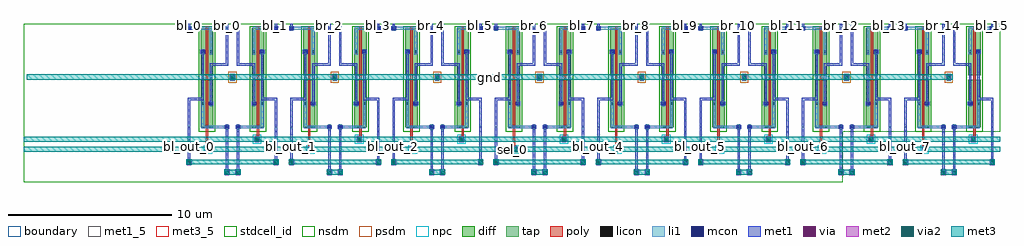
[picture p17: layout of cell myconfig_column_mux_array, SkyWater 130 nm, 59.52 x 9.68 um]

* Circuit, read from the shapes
.subckt myconfig_column_mux_array bl_0 bl_1 bl_10 bl_11 bl_12 bl_13 bl_14 bl_15 bl_2 bl_3 bl_4 bl_5 bl_6 bl_7 bl_8 bl_9 bl_out_0 bl_out_1 bl_out_2 bl_out_3 bl_out_4 bl_out_5 bl_out_6 bl_out_7 br_0 br_1 br_10 br_11 br_12 br_13 br_14 br_15 br_2 br_3 br_4 br_5 br_6 br_7 br_8 br_9 br_out_0 br_out_1 br_out_2 br_out_3 br_out_4 br_out_5 br_out_6 br_out_7 gnd sel_0 sel_1
XM1 br_0 sel_0 br_out_0 gnd sky130_fd_pr__nfet_01v8 w=2.88 l=0.15
XM2 bl_0 sel_0 bl_out_0 gnd sky130_fd_pr__nfet_01v8 w=2.88 l=0.15
XM3 br_out_0 sel_1 br_1 gnd sky130_fd_pr__nfet_01v8 w=2.88 l=0.15
XM4 bl_out_0 sel_1 bl_1 gnd sky130_fd_pr__nfet_01v8 w=2.88 l=0.15
XM5 br_2 sel_0 br_out_1 gnd sky130_fd_pr__nfet_01v8 w=2.88 l=0.15
XM6 bl_2 sel_0 bl_out_1 gnd sky130_fd_pr__nfet_01v8 w=2.88 l=0.15
XM7 br_out_1 sel_1 br_3 gnd sky130_fd_pr__nfet_01v8 w=2.88 l=0.15
XM8 bl_out_1 sel_1 bl_3 gnd sky130_fd_pr__nfet_01v8 w=2.88 l=0.15
XM9 br_4 sel_0 br_out_2 gnd sky130_fd_pr__nfet_01v8 w=2.88 l=0.15
XM10 bl_4 sel_0 bl_out_2 gnd sky130_fd_pr__nfet_01v8 w=2.88 l=0.15
XM11 br_out_2 sel_1 br_5 gnd sky130_fd_pr__nfet_01v8 w=2.88 l=0.15
XM12 bl_out_2 sel_1 bl_5 gnd sky130_fd_pr__nfet_01v8 w=2.88 l=0.15
XM13 br_6 sel_0 br_out_3 gnd sky130_fd_pr__nfet_01v8 w=2.88 l=0.15
XM14 bl_6 sel_0 bl_out_3 gnd sky130_fd_pr__nfet_01v8 w=2.88 l=0.15
XM15 br_out_3 sel_1 br_7 gnd sky130_fd_pr__nfet_01v8 w=2.88 l=0.15
XM16 bl_out_3 sel_1 bl_7 gnd sky130_fd_pr__nfet_01v8 w=2.88 l=0.15
XM17 br_8 sel_0 br_out_4 gnd sky130_fd_pr__nfet_01v8 w=2.88 l=0.15
XM18 bl_8 sel_0 bl_out_4 gnd sky130_fd_pr__nfet_01v8 w=2.88 l=0.15
XM19 br_out_4 sel_1 br_9 gnd sky130_fd_pr__nfet_01v8 w=2.88 l=0.15
XM20 bl_out_4 sel_1 bl_9 gnd sky130_fd_pr__nfet_01v8 w=2.88 l=0.15
XM21 br_10 sel_0 br_out_5 gnd sky130_fd_pr__nfet_01v8 w=2.88 l=0.15
XM22 bl_10 sel_0 bl_out_5 gnd sky130_fd_pr__nfet_01v8 w=2.88 l=0.15
XM23 br_out_5 sel_1 br_11 gnd sky130_fd_pr__nfet_01v8 w=2.88 l=0.15
XM24 bl_out_5 sel_1 bl_11 gnd sky130_fd_pr__nfet_01v8 w=2.88 l=0.15
XM25 br_12 sel_0 br_out_6 gnd sky130_fd_pr__nfet_01v8 w=2.88 l=0.15
XM26 bl_12 sel_0 bl_out_6 gnd sky130_fd_pr__nfet_01v8 w=2.88 l=0.15
XM27 br_out_6 sel_1 br_13 gnd sky130_fd_pr__nfet_01v8 w=2.88 l=0.15
XM28 bl_out_6 sel_1 bl_13 gnd sky130_fd_pr__nfet_01v8 w=2.88 l=0.15
XM29 br_14 sel_0 br_out_7 gnd sky130_fd_pr__nfet_01v8 w=2.88 l=0.15
XM30 bl_14 sel_0 bl_out_7 gnd sky130_fd_pr__nfet_01v8 w=2.88 l=0.15
XM31 br_out_7 sel_1 br_15 gnd sky130_fd_pr__nfet_01v8 w=2.88 l=0.15
XM32 bl_out_7 sel_1 bl_15 gnd sky130_fd_pr__nfet_01v8 w=2.88 l=0.15
.ends

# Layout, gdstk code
from math import pi, radians
import gdstk
lib = gdstk.Library(unit=1e-6, precision=1e-09)
def R(c, l, rs):  # rectangles x0, y0, x1, y1
    for r in rs: c.add(gdstk.rectangle(r[:2], r[2:], *l))
def A(c, l, x, y, w, h, nx, ny, dx, dy):  # array of equal rectangles
    R(c, l, [(x+i*dx, y+j*dy, x+i*dx+w, y+j*dy+h) for i in range(nx) for j in range(ny)])
diff = (65, 20)
tap = (65, 44)
poly = (66, 20)
licon = (66, 44)
li1 = (67, 20)
mcon = (67, 44)
met1_5 = (68, 5)
met1 = (68, 20)
via = (68, 44)
met2 = (69, 20)
via2 = (69, 44)
met3_5 = (70, 5)
met3 = (70, 20)
stdcell_id = (81, 4)
nsdm = (93, 44)
psdm = (94, 20)
npc = (95, 20)
boundary = (235, 4)

myconfig_contact_10 = lib.new_cell('myconfig_contact_10')
R(myconfig_contact_10, diff, [(0,0.02,0.25,0.31)])
R(myconfig_contact_10, licon, [(0.04,0.08,0.21,0.25)])
R(myconfig_contact_10, li1, [(0.04,0,0.21,0.33)])
R(myconfig_contact_10, stdcell_id, [(-0.125,-0.105,0.375,0.435)])
R(myconfig_contact_10, nsdm, [(-0.125,-0.105,0.375,0.435)])
R(myconfig_contact_10, boundary, [(-0.125,-0.105,0.375,0.435)])

myconfig_nmos_m1_w2_880_ = lib.new_cell('myconfig_nmos_m1_w2_880_sli_dli')
R(myconfig_nmos_m1_w2_880_, diff, [(0,0,0.75,2.88)])
R(myconfig_nmos_m1_w2_880_, poly, [(0.3,-0.13,0.45,3.01), (0.3,-0.13,0.45,3.01)])
R(myconfig_nmos_m1_w2_880_, li1, [(0.04,1.275,0.21,1.605), (0.54,1.275,0.71,1.605)])
R(myconfig_nmos_m1_w2_880_, stdcell_id, [(-0.125,-0.13,0.875,3.01)])
R(myconfig_nmos_m1_w2_880_, nsdm, [(-0.125,-0.125,0.875,3.005)])
R(myconfig_nmos_m1_w2_880_, boundary, [(-0.125,-0.13,0.875,3.01)])
myconfig_nmos_m1_w2_880_.add(gdstk.Reference(myconfig_contact_10, (0,1.275)))
myconfig_nmos_m1_w2_880_.add(gdstk.Reference(myconfig_contact_10, (0.5,1.275)))
myconfig_nmos_m1_w2_880_.add(gdstk.Label('G', (0.375,1.44), layer=66, texttype=5))
myconfig_nmos_m1_w2_880_.add(gdstk.Label('S', (0.125,1.44), layer=67, texttype=5))
myconfig_nmos_m1_w2_880_.add(gdstk.Label('D', (0.625,1.44), layer=67, texttype=5))

myconfig_contact_13 = lib.new_cell('myconfig_contact_13')
R(myconfig_contact_13, li1, [(0.06,0,0.23,0.33)])
R(myconfig_contact_13, mcon, [(0.06,0.08,0.23,0.25)])
R(myconfig_contact_13, met1, [(0,0.05,0.29,0.28)])
R(myconfig_contact_13, stdcell_id, [(0,0,0.29,0.33)])
R(myconfig_contact_13, boundary, [(0,0,0.29,0.33)])

myconfig_contact_14 = lib.new_cell('myconfig_contact_14')
R(myconfig_contact_14, tap, [(0,0,0.25,0.41)])
R(myconfig_contact_14, licon, [(0.04,0.12,0.21,0.29)])
R(myconfig_contact_14, li1, [(0.04,0.04,0.21,0.37)])
R(myconfig_contact_14, stdcell_id, [(-0.125,-0.125,0.375,0.535)])
R(myconfig_contact_14, psdm, [(-0.125,-0.125,0.375,0.535)])
R(myconfig_contact_14, boundary, [(-0.125,-0.125,0.375,0.535)])

myconfig_column_mux = lib.new_cell('myconfig_column_mux')
R(myconfig_column_mux, poly, [(1.485,0.14,1.635,0.27), (1.485,3.15,1.635,3.42)])
R(myconfig_column_mux, li1, [(1.225,0.195,1.395,0.365), (1.31,0.195,2.79,0.365), (1.225,0.28,1.395,1.71), (1.725,4.86,1.895,6.3), (0.4,6.215,1.81,6.385), (1.725,6.215,1.895,6.385)])
R(myconfig_column_mux, met1_5, [(0.4,0,0.54,0.28), (2.72,0,2.86,0.28), (3.05,3.245,3.19,3.385), (0.4,6.3,0.54,6.58), (2.72,6.3,2.86,6.58)])
R(myconfig_column_mux, met1, [(0.4,0,0.54,0.28), (2.72,0,2.86,0.28), (0.4,0.28,0.54,1.99), (1.74,1.71,1.88,4.09), (0.4,1.92,0.54,2.06), (0.47,1.92,1.31,2.06), (1.24,1.92,1.38,2.06), (1.24,1.99,1.38,4.86), (3.05,3.245,3.19,3.385), (1.74,4.02,1.88,4.16), (1.81,4.02,2.79,4.16), (2.72,4.02,2.86,4.16), (2.72,4.09,2.86,6.3), (0.4,6.3,0.54,6.58), (2.72,6.3,2.86,6.58)])
R(myconfig_column_mux, stdcell_id, [(0,0,3.12,6.58)])
R(myconfig_column_mux, nsdm, [(1.06,0,2.06,6.3)])
R(myconfig_column_mux, boundary, [(0,0,3.12,6.58)])
myconfig_column_mux.add(gdstk.Reference(myconfig_nmos_m1_w2_880_, (1.185,0.27)))
myconfig_column_mux.add(gdstk.Reference(myconfig_nmos_m1_w2_880_, (1.185,3.42)))
myconfig_column_mux.add(gdstk.Reference(myconfig_contact_13, (0.325,6.135)))
myconfig_column_mux.add(gdstk.Reference(myconfig_contact_13, (2.645,0.115)))
myconfig_column_mux.add(gdstk.Reference(myconfig_contact_13, (1.165,4.695)))
myconfig_column_mux.add(gdstk.Reference(myconfig_contact_13, (1.665,1.545)))
myconfig_column_mux.add(gdstk.Reference(myconfig_contact_14, (2.995,3.11)))
myconfig_column_mux.add(gdstk.Reference(myconfig_contact_13, (2.975,3.15)))
myconfig_column_mux.add(gdstk.Label('sel', (1.56,0.205), layer=66, texttype=5))
myconfig_column_mux.add(gdstk.Label('bl', (0.47,6.44), layer=68, texttype=5))
myconfig_column_mux.add(gdstk.Label('br', (2.79,6.44), layer=68, texttype=5))
myconfig_column_mux.add(gdstk.Label('bl_out', (0.47,0.14), layer=68, texttype=5))
myconfig_column_mux.add(gdstk.Label('br_out', (2.79,0.14), layer=68, texttype=5))
myconfig_column_mux.add(gdstk.Label('gnd', (3.12,3.315), layer=68, texttype=5))

myconfig_contact_24 = lib.new_cell('myconfig_contact_24')
R(myconfig_contact_24, poly, [(0,0,0.33,0.33)])
R(myconfig_contact_24, licon, [(0.08,0.08,0.25,0.25)])
R(myconfig_contact_24, li1, [(0.08,0,0.25,0.33)])
R(myconfig_contact_24, stdcell_id, [(-0.1,-0.1,0.43,0.43)])
R(myconfig_contact_24, npc, [(-0.1,-0.1,0.43,0.43)])
R(myconfig_contact_24, boundary, [(-0.1,-0.1,0.43,0.43)])

myconfig_contact_25 = lib.new_cell('myconfig_contact_25')
R(myconfig_contact_25, li1, [(0.06,0,0.23,0.33)])
R(myconfig_contact_25, mcon, [(0.06,0.08,0.23,0.25)])
R(myconfig_contact_25, met1, [(0,0.05,0.29,0.28)])
R(myconfig_contact_25, stdcell_id, [(0,0,0.29,0.33)])
R(myconfig_contact_25, boundary, [(0,0,0.29,0.33)])

myconfig_contact_26 = lib.new_cell('myconfig_contact_26')
R(myconfig_contact_26, met1, [(0,0.03,0.32,0.29)])
R(myconfig_contact_26, via, [(0.085,0.085,0.235,0.235)])
R(myconfig_contact_26, met2, [(0.03,0,0.29,0.32)])
R(myconfig_contact_26, stdcell_id, [(0,0,0.32,0.32)])
R(myconfig_contact_26, boundary, [(0,0,0.32,0.32)])

myconfig_contact_27 = lib.new_cell('myconfig_contact_27')
R(myconfig_contact_27, met2, [(0.025,0,0.305,0.37)])
R(myconfig_contact_27, via2, [(0.065,0.085,0.265,0.285)])
R(myconfig_contact_27, met3, [(0,0.02,0.33,0.35)])
R(myconfig_contact_27, stdcell_id, [(0,0,0.33,0.37)])
R(myconfig_contact_27, boundary, [(0,0,0.33,0.37)])

myconfig_contact_18 = lib.new_cell('myconfig_contact_18')
R(myconfig_contact_18, met1, [(0,0.03,0.32,0.29)])
R(myconfig_contact_18, via, [(0.085,0.085,0.235,0.235)])
R(myconfig_contact_18, met2, [(0.03,0,0.29,0.32)])
R(myconfig_contact_18, stdcell_id, [(0,0,0.32,0.32)])
R(myconfig_contact_18, boundary, [(0,0,0.32,0.32)])

myconfig_contact_21 = lib.new_cell('myconfig_contact_21')
R(myconfig_contact_21, met2, [(0.025,0,0.305,0.37)])
R(myconfig_contact_21, via2, [(0.065,0.085,0.265,0.285)])
R(myconfig_contact_21, met3, [(0,0.02,0.33,0.35)])
R(myconfig_contact_21, stdcell_id, [(0,0,0.33,0.37)])
R(myconfig_contact_21, boundary, [(0,0,0.33,0.37)])

myconfig_column_mux_arra = lib.new_cell('myconfig_column_mux_array')
A(myconfig_column_mux_arra, poly, 11.08, 1.935, 0.15, 0.15, 8, 1, 6.24, 0)
A(myconfig_column_mux_arra, poly, 11.155, 1.935, 0.07, 0.15, 8, 1, 6.24, 0)
A(myconfig_column_mux_arra, poly, 14.2, 2.555, 0.15, 0.15, 8, 1, 6.24, 0)
A(myconfig_column_mux_arra, poly, 14.205, 2.555, 0.07, 0.15, 8, 1, 6.24, 0)
R(myconfig_column_mux_arra, poly, [(11.08,2.01,11.23,3.24), (11.08,2.01,11.23,3.24), (17.32,2.01,17.47,3.24), (17.32,2.01,17.47,3.24), (23.56,2.01,23.71,3.24), (23.56,2.01,23.71,3.24), (29.8,2.01,29.95,3.24), (29.8,2.01,29.95,3.24), (36.04,2.01,36.19,3.24), (36.04,2.01,36.19,3.24), (42.28,2.01,42.43,3.24), (42.28,2.01,42.43,3.24), (48.52,2.01,48.67,3.24), (48.52,2.01,48.67,3.24), (54.76,2.01,54.91,3.24), (54.76,2.01,54.91,3.24), (14.2,2.63,14.35,3.24), (14.2,2.63,14.35,3.24), (20.44,2.63,20.59,3.24), (20.44,2.63,20.59,3.24), (26.68,2.63,26.83,3.24), (26.68,2.63,26.83,3.24), (32.92,2.63,33.07,3.24), (32.92,2.63,33.07,3.24), (39.16,2.63,39.31,3.24), (39.16,2.63,39.31,3.24), (45.4,2.63,45.55,3.24), (45.4,2.63,45.55,3.24), (51.64,2.63,51.79,3.24), (51.64,2.63,51.79,3.24), (57.88,2.63,58.03,3.24), (57.88,2.63,58.03,3.24)])
A(myconfig_column_mux_arra, met1_5, 12.315, 0.62, 0.14, 2.48, 8, 1, 6.24, 0)
A(myconfig_column_mux_arra, met1_5, 9.995, 1.24, 0.14, 1.86, 8, 1, 6.24, 0)
R(myconfig_column_mux_arra, met1_5, [(9.995,9.4,10.135,9.68), (12.315,9.4,12.455,9.68), (12.975,9.4,13.115,9.68), (15.295,9.4,15.435,9.68), (16.235,9.4,16.375,9.68), (18.555,9.4,18.695,9.68), (19.215,9.4,19.355,9.68), (21.535,9.4,21.675,9.68), (22.475,9.4,22.615,9.68), (24.795,9.4,24.935,9.68), (25.455,9.4,25.595,9.68), (27.775,9.4,27.915,9.68), (28.715,9.4,28.855,9.68), (31.035,9.4,31.175,9.68), (31.695,9.4,31.835,9.68), (34.015,9.4,34.155,9.68), (34.955,9.4,35.095,9.68), (37.275,9.4,37.415,9.68), (37.935,9.4,38.075,9.68), (40.255,9.4,40.395,9.68), (41.195,9.4,41.335,9.68), (43.515,9.4,43.655,9.68), (44.175,9.4,44.315,9.68), (46.495,9.4,46.635,9.68), (47.435,9.4,47.575,9.68), (49.755,9.4,49.895,9.68), (50.415,9.4,50.555,9.68), (52.735,9.4,52.875,9.68), (53.675,9.4,53.815,9.68), (55.995,9.4,56.135,9.68), (56.655,9.4,56.795,9.68), (58.975,9.4,59.115,9.68)])
A(myconfig_column_mux_arra, met1, 11.065, 1.88, 0.32, 0.26, 8, 1, 6.24, 0)
A(myconfig_column_mux_arra, met1, 14.045, 2.5, 0.32, 0.26, 8, 1, 6.24, 0)
R(myconfig_column_mux_arra, met1, [(12.225,0.49,12.545,0.75), (12.885,0.49,13.205,0.75), (18.465,0.49,18.785,0.75), (19.125,0.49,19.445,0.75), (24.705,0.49,25.025,0.75), (25.365,0.49,25.685,0.75), (30.945,0.49,31.265,0.75), (31.605,0.49,31.925,0.75), (37.185,0.49,37.505,0.75), (37.845,0.49,38.165,0.75), (43.425,0.49,43.745,0.75), (44.085,0.49,44.405,0.75), (49.665,0.49,49.985,0.75), (50.325,0.49,50.645,0.75), (55.905,0.49,56.225,0.75), (56.565,0.49,56.885,0.75), (12.315,0.62,12.455,3.1), (12.975,0.62,13.115,3.1), (18.555,0.62,18.695,3.1), (19.215,0.62,19.355,3.1), (24.795,0.62,24.935,3.1), (25.455,0.62,25.595,3.1), (31.035,0.62,31.175,3.1), (31.695,0.62,31.835,3.1), (37.275,0.62,37.415,3.1), (37.935,0.62,38.075,3.1), (43.515,0.62,43.655,3.1), (44.175,0.62,44.315,3.1), (49.755,0.62,49.895,3.1), (50.415,0.62,50.555,3.1), (55.995,0.62,56.135,3.1), (56.655,0.62,56.795,3.1), (9.905,1.11,10.225,1.37), (15.205,1.11,15.525,1.37), (16.145,1.11,16.465,1.37), (21.445,1.11,21.765,1.37), (22.385,1.11,22.705,1.37), (27.685,1.11,28.005,1.37), (28.625,1.11,28.945,1.37), (33.925,1.11,34.245,1.37), (34.865,1.11,35.185,1.37), (40.165,1.11,40.485,1.37), (41.105,1.11,41.425,1.37), (46.405,1.11,46.725,1.37), (47.345,1.11,47.665,1.37), (52.645,1.11,52.965,1.37), (53.585,1.11,53.905,1.37), (58.885,1.11,59.205,1.37), (9.995,1.24,10.135,3.1), (15.295,1.24,15.435,3.1), (16.235,1.24,16.375,3.1), (21.535,1.24,21.675,3.1), (22.475,1.24,22.615,3.1), (27.775,1.24,27.915,3.1), (28.715,1.24,28.855,3.1), (34.015,1.24,34.155,3.1), (34.955,1.24,35.095,3.1), (40.255,1.24,40.395,3.1), (41.195,1.24,41.335,3.1), (46.495,1.24,46.635,3.1), (47.435,1.24,47.575,3.1), (52.735,1.24,52.875,3.1), (53.675,1.24,53.815,3.1), (58.975,1.24,59.115,3.1), (12.555,6.285,12.875,6.545), (12.555,6.285,12.875,6.545), (18.795,6.285,19.115,6.545), (18.795,6.285,19.115,6.545), (25.035,6.285,25.355,6.545), (25.035,6.285,25.355,6.545), (31.275,6.285,31.595,6.545), (31.275,6.285,31.595,6.545), (37.515,6.285,37.835,6.545), (37.515,6.285,37.835,6.545), (43.755,6.285,44.075,6.545), (43.755,6.285,44.075,6.545), (49.995,6.285,50.315,6.545), (49.995,6.285,50.315,6.545), (56.235,6.285,56.555,6.545), (56.235,6.285,56.555,6.545), (9.995,9.4,10.135,9.68), (12.315,9.4,12.455,9.68), (12.975,9.4,13.115,9.68), (15.295,9.4,15.435,9.68), (16.235,9.4,16.375,9.68), (18.555,9.4,18.695,9.68), (19.215,9.4,19.355,9.68), (21.535,9.4,21.675,9.68), (22.475,9.4,22.615,9.68), (24.795,9.4,24.935,9.68), (25.455,9.4,25.595,9.68), (27.775,9.4,27.915,9.68), (28.715,9.4,28.855,9.68), (31.035,9.4,31.175,9.68), (31.695,9.4,31.835,9.68), (34.015,9.4,34.155,9.68), (34.955,9.4,35.095,9.68), (37.275,9.4,37.415,9.68), (37.935,9.4,38.075,9.68), (40.255,9.4,40.395,9.68), (41.195,9.4,41.335,9.68), (43.515,9.4,43.655,9.68), (44.175,9.4,44.315,9.68), (46.495,9.4,46.635,9.68), (47.435,9.4,47.575,9.68), (49.755,9.4,49.895,9.68), (50.415,9.4,50.555,9.68), (52.735,9.4,52.875,9.68), (53.675,9.4,53.815,9.68), (55.995,9.4,56.135,9.68), (56.655,9.4,56.795,9.68), (58.975,9.4,59.115,9.68)])
A(myconfig_column_mux_arra, met2, 11.085, 1.89, 0.28, 0.24, 8, 1, 6.24, 0)
A(myconfig_column_mux_arra, met2, 14.065, 2.51, 0.28, 0.24, 8, 1, 6.24, 0)
R(myconfig_column_mux_arra, met2, [(12.245,0.5,12.525,0.74), (12.905,0.5,13.185,0.74), (18.485,0.5,18.765,0.74), (19.145,0.5,19.425,0.74), (24.725,0.5,25.005,0.74), (25.385,0.5,25.665,0.74), (30.965,0.5,31.245,0.74), (31.625,0.5,31.905,0.74), (37.205,0.5,37.485,0.74), (37.865,0.5,38.145,0.74), (43.445,0.5,43.725,0.74), (44.105,0.5,44.385,0.74), (49.685,0.5,49.965,0.74), (50.345,0.5,50.625,0.74), (55.925,0.5,56.205,0.74), (56.585,0.5,56.865,0.74), (9.925,1.12,10.205,1.36), (15.225,1.12,15.505,1.36), (16.165,1.12,16.445,1.36), (21.465,1.12,21.745,1.36), (22.405,1.12,22.685,1.36), (27.705,1.12,27.985,1.36), (28.645,1.12,28.925,1.36), (33.945,1.12,34.225,1.36), (34.885,1.12,35.165,1.36), (40.185,1.12,40.465,1.36), (41.125,1.12,41.405,1.36), (46.425,1.12,46.705,1.36), (47.365,1.12,47.645,1.36), (52.665,1.12,52.945,1.36), (53.605,1.12,53.885,1.36), (58.905,1.12,59.185,1.36), (12.575,6.295,12.855,6.535), (12.575,6.295,12.855,6.535), (18.815,6.295,19.095,6.535), (18.815,6.295,19.095,6.535), (25.055,6.295,25.335,6.535), (25.055,6.295,25.335,6.535), (31.295,6.295,31.575,6.535), (31.295,6.295,31.575,6.535), (37.535,6.295,37.815,6.535), (37.535,6.295,37.815,6.535), (43.775,6.295,44.055,6.535), (43.775,6.295,44.055,6.535), (50.015,6.295,50.295,6.535), (50.015,6.295,50.295,6.535), (56.255,6.295,56.535,6.535), (56.255,6.295,56.535,6.535)])
R(myconfig_column_mux_arra, met3_5, [(0,1.86,59.515,2.16), (0,2.48,59.515,2.78), (0.165,6.25,56.63,6.58)])
A(myconfig_column_mux_arra, met3, 12.385, 0.47, 0.66, 0.3, 8, 1, 6.24, 0)
A(myconfig_column_mux_arra, met3, 10.065, 1.09, 5.3, 0.3, 8, 1, 6.24, 0)
R(myconfig_column_mux_arra, met3, [(0,1.86,59.515,2.16), (0,2.48,59.515,2.78), (0.165,6.25,56.63,6.58)])
R(myconfig_column_mux_arra, stdcell_id, [(0,0,49.92,9.68)])
R(myconfig_column_mux_arra, boundary, [(0,0,49.92,9.68)])
myconfig_column_mux_arra.add(gdstk.Reference(myconfig_column_mux, (9.595,3.1)))
myconfig_column_mux_arra.add(gdstk.Reference(myconfig_column_mux, (15.835,3.1), rotation=pi, x_reflection=True))
myconfig_column_mux_arra.add(gdstk.Reference(myconfig_column_mux, (15.835,3.1)))
myconfig_column_mux_arra.add(gdstk.Reference(myconfig_column_mux, (22.075,3.1), rotation=pi, x_reflection=True))
myconfig_column_mux_arra.add(gdstk.Reference(myconfig_column_mux, (22.075,3.1)))
myconfig_column_mux_arra.add(gdstk.Reference(myconfig_column_mux, (28.315,3.1), rotation=pi, x_reflection=True))
myconfig_column_mux_arra.add(gdstk.Reference(myconfig_column_mux, (28.315,3.1)))
myconfig_column_mux_arra.add(gdstk.Reference(myconfig_column_mux, (34.555,3.1), rotation=pi, x_reflection=True))
myconfig_column_mux_arra.add(gdstk.Reference(myconfig_column_mux, (34.555,3.1)))
myconfig_column_mux_arra.add(gdstk.Reference(myconfig_column_mux, (40.795,3.1), rotation=pi, x_reflection=True))
myconfig_column_mux_arra.add(gdstk.Reference(myconfig_column_mux, (40.795,3.1)))
myconfig_column_mux_arra.add(gdstk.Reference(myconfig_column_mux, (47.035,3.1), rotation=pi, x_reflection=True))
myconfig_column_mux_arra.add(gdstk.Reference(myconfig_column_mux, (47.035,3.1)))
myconfig_column_mux_arra.add(gdstk.Reference(myconfig_column_mux, (53.275,3.1), rotation=pi, x_reflection=True))
myconfig_column_mux_arra.add(gdstk.Reference(myconfig_column_mux, (53.275,3.1)))
myconfig_column_mux_arra.add(gdstk.Reference(myconfig_column_mux, (59.515,3.1), rotation=pi, x_reflection=True))
myconfig_column_mux_arra.add(gdstk.Reference(myconfig_contact_24, (11.06,1.845)))
myconfig_column_mux_arra.add(gdstk.Reference(myconfig_contact_25, (11.08,1.845)))
myconfig_column_mux_arra.add(gdstk.Reference(myconfig_contact_26, (11.065,1.85)))
myconfig_column_mux_arra.add(gdstk.Reference(myconfig_contact_27, (11.06,1.825)))
myconfig_column_mux_arra.add(gdstk.Reference(myconfig_contact_24, (14.04,2.465)))
myconfig_column_mux_arra.add(gdstk.Reference(myconfig_contact_25, (14.06,2.465)))
myconfig_column_mux_arra.add(gdstk.Reference(myconfig_contact_26, (14.045,2.47)))
myconfig_column_mux_arra.add(gdstk.Reference(myconfig_contact_27, (14.04,2.445)))
myconfig_column_mux_arra.add(gdstk.Reference(myconfig_contact_24, (17.3,1.845)))
myconfig_column_mux_arra.add(gdstk.Reference(myconfig_contact_25, (17.32,1.845)))
myconfig_column_mux_arra.add(gdstk.Reference(myconfig_contact_26, (17.305,1.85)))
myconfig_column_mux_arra.add(gdstk.Reference(myconfig_contact_27, (17.3,1.825)))
myconfig_column_mux_arra.add(gdstk.Reference(myconfig_contact_24, (20.28,2.465)))
myconfig_column_mux_arra.add(gdstk.Reference(myconfig_contact_25, (20.3,2.465)))
myconfig_column_mux_arra.add(gdstk.Reference(myconfig_contact_26, (20.285,2.47)))
myconfig_column_mux_arra.add(gdstk.Reference(myconfig_contact_27, (20.28,2.445)))
myconfig_column_mux_arra.add(gdstk.Reference(myconfig_contact_24, (23.54,1.845)))
myconfig_column_mux_arra.add(gdstk.Reference(myconfig_contact_25, (23.56,1.845)))
myconfig_column_mux_arra.add(gdstk.Reference(myconfig_contact_26, (23.545,1.85)))
myconfig_column_mux_arra.add(gdstk.Reference(myconfig_contact_27, (23.54,1.825)))
myconfig_column_mux_arra.add(gdstk.Reference(myconfig_contact_24, (26.52,2.465)))
myconfig_column_mux_arra.add(gdstk.Reference(myconfig_contact_25, (26.54,2.465)))
myconfig_column_mux_arra.add(gdstk.Reference(myconfig_contact_26, (26.525,2.47)))
myconfig_column_mux_arra.add(gdstk.Reference(myconfig_contact_27, (26.52,2.445)))
myconfig_column_mux_arra.add(gdstk.Reference(myconfig_contact_24, (29.78,1.845)))
myconfig_column_mux_arra.add(gdstk.Reference(myconfig_contact_25, (29.8,1.845)))
myconfig_column_mux_arra.add(gdstk.Reference(myconfig_contact_26, (29.785,1.85)))
myconfig_column_mux_arra.add(gdstk.Reference(myconfig_contact_27, (29.78,1.825)))
myconfig_column_mux_arra.add(gdstk.Reference(myconfig_contact_24, (32.76,2.465)))
myconfig_column_mux_arra.add(gdstk.Reference(myconfig_contact_25, (32.78,2.465)))
myconfig_column_mux_arra.add(gdstk.Reference(myconfig_contact_26, (32.765,2.47)))
myconfig_column_mux_arra.add(gdstk.Reference(myconfig_contact_27, (32.76,2.445)))
myconfig_column_mux_arra.add(gdstk.Reference(myconfig_contact_24, (36.02,1.845)))
myconfig_column_mux_arra.add(gdstk.Reference(myconfig_contact_25, (36.04,1.845)))
myconfig_column_mux_arra.add(gdstk.Reference(myconfig_contact_26, (36.025,1.85)))
myconfig_column_mux_arra.add(gdstk.Reference(myconfig_contact_27, (36.02,1.825)))
myconfig_column_mux_arra.add(gdstk.Reference(myconfig_contact_24, (39,2.465)))
myconfig_column_mux_arra.add(gdstk.Reference(myconfig_contact_25, (39.02,2.465)))
myconfig_column_mux_arra.add(gdstk.Reference(myconfig_contact_26, (39.005,2.47)))
myconfig_column_mux_arra.add(gdstk.Reference(myconfig_contact_27, (39,2.445)))
myconfig_column_mux_arra.add(gdstk.Reference(myconfig_contact_24, (42.26,1.845)))
myconfig_column_mux_arra.add(gdstk.Reference(myconfig_contact_25, (42.28,1.845)))
myconfig_column_mux_arra.add(gdstk.Reference(myconfig_contact_26, (42.265,1.85)))
myconfig_column_mux_arra.add(gdstk.Reference(myconfig_contact_27, (42.26,1.825)))
myconfig_column_mux_arra.add(gdstk.Reference(myconfig_contact_24, (45.24,2.465)))
myconfig_column_mux_arra.add(gdstk.Reference(myconfig_contact_25, (45.26,2.465)))
myconfig_column_mux_arra.add(gdstk.Reference(myconfig_contact_26, (45.245,2.47)))
myconfig_column_mux_arra.add(gdstk.Reference(myconfig_contact_27, (45.24,2.445)))
myconfig_column_mux_arra.add(gdstk.Reference(myconfig_contact_24, (48.5,1.845)))
myconfig_column_mux_arra.add(gdstk.Reference(myconfig_contact_25, (48.52,1.845)))
myconfig_column_mux_arra.add(gdstk.Reference(myconfig_contact_26, (48.505,1.85)))
myconfig_column_mux_arra.add(gdstk.Reference(myconfig_contact_27, (48.5,1.825)))
myconfig_column_mux_arra.add(gdstk.Reference(myconfig_contact_24, (51.48,2.465)))
myconfig_column_mux_arra.add(gdstk.Reference(myconfig_contact_25, (51.5,2.465)))
myconfig_column_mux_arra.add(gdstk.Reference(myconfig_contact_26, (51.485,2.47)))
myconfig_column_mux_arra.add(gdstk.Reference(myconfig_contact_27, (51.48,2.445)))
myconfig_column_mux_arra.add(gdstk.Reference(myconfig_contact_24, (54.74,1.845)))
myconfig_column_mux_arra.add(gdstk.Reference(myconfig_contact_25, (54.76,1.845)))
myconfig_column_mux_arra.add(gdstk.Reference(myconfig_contact_26, (54.745,1.85)))
myconfig_column_mux_arra.add(gdstk.Reference(myconfig_contact_27, (54.74,1.825)))
myconfig_column_mux_arra.add(gdstk.Reference(myconfig_contact_24, (57.72,2.465)))
myconfig_column_mux_arra.add(gdstk.Reference(myconfig_contact_25, (57.74,2.465)))
myconfig_column_mux_arra.add(gdstk.Reference(myconfig_contact_26, (57.725,2.47)))
myconfig_column_mux_arra.add(gdstk.Reference(myconfig_contact_27, (57.72,2.445)))
myconfig_column_mux_arra.add(gdstk.Reference(myconfig_contact_26, (9.905,1.08)))
myconfig_column_mux_arra.add(gdstk.Reference(myconfig_contact_27, (9.9,1.055)))
myconfig_column_mux_arra.add(gdstk.Reference(myconfig_contact_26, (12.225,0.46)))
myconfig_column_mux_arra.add(gdstk.Reference(myconfig_contact_27, (12.22,0.435)))
myconfig_column_mux_arra.add(gdstk.Reference(myconfig_contact_26, (15.205,1.08)))
myconfig_column_mux_arra.add(gdstk.Reference(myconfig_contact_27, (15.2,1.055)))
myconfig_column_mux_arra.add(gdstk.Reference(myconfig_contact_26, (12.885,0.46)))
myconfig_column_mux_arra.add(gdstk.Reference(myconfig_contact_27, (12.88,0.435)))
myconfig_column_mux_arra.add(gdstk.Reference(myconfig_contact_26, (16.145,1.08)))
myconfig_column_mux_arra.add(gdstk.Reference(myconfig_contact_27, (16.14,1.055)))
myconfig_column_mux_arra.add(gdstk.Reference(myconfig_contact_26, (18.465,0.46)))
myconfig_column_mux_arra.add(gdstk.Reference(myconfig_contact_27, (18.46,0.435)))
myconfig_column_mux_arra.add(gdstk.Reference(myconfig_contact_26, (21.445,1.08)))
myconfig_column_mux_arra.add(gdstk.Reference(myconfig_contact_27, (21.44,1.055)))
myconfig_column_mux_arra.add(gdstk.Reference(myconfig_contact_26, (19.125,0.46)))
myconfig_column_mux_arra.add(gdstk.Reference(myconfig_contact_27, (19.12,0.435)))
myconfig_column_mux_arra.add(gdstk.Reference(myconfig_contact_26, (22.385,1.08)))
myconfig_column_mux_arra.add(gdstk.Reference(myconfig_contact_27, (22.38,1.055)))
myconfig_column_mux_arra.add(gdstk.Reference(myconfig_contact_26, (24.705,0.46)))
myconfig_column_mux_arra.add(gdstk.Reference(myconfig_contact_27, (24.7,0.435)))
myconfig_column_mux_arra.add(gdstk.Reference(myconfig_contact_26, (27.685,1.08)))
myconfig_column_mux_arra.add(gdstk.Reference(myconfig_contact_27, (27.68,1.055)))
myconfig_column_mux_arra.add(gdstk.Reference(myconfig_contact_26, (25.365,0.46)))
myconfig_column_mux_arra.add(gdstk.Reference(myconfig_contact_27, (25.36,0.435)))
myconfig_column_mux_arra.add(gdstk.Reference(myconfig_contact_26, (28.625,1.08)))
myconfig_column_mux_arra.add(gdstk.Reference(myconfig_contact_27, (28.62,1.055)))
myconfig_column_mux_arra.add(gdstk.Reference(myconfig_contact_26, (30.945,0.46)))
myconfig_column_mux_arra.add(gdstk.Reference(myconfig_contact_27, (30.94,0.435)))
myconfig_column_mux_arra.add(gdstk.Reference(myconfig_contact_26, (33.925,1.08)))
myconfig_column_mux_arra.add(gdstk.Reference(myconfig_contact_27, (33.92,1.055)))
myconfig_column_mux_arra.add(gdstk.Reference(myconfig_contact_26, (31.605,0.46)))
myconfig_column_mux_arra.add(gdstk.Reference(myconfig_contact_27, (31.6,0.435)))
myconfig_column_mux_arra.add(gdstk.Reference(myconfig_contact_26, (34.865,1.08)))
myconfig_column_mux_arra.add(gdstk.Reference(myconfig_contact_27, (34.86,1.055)))
myconfig_column_mux_arra.add(gdstk.Reference(myconfig_contact_26, (37.185,0.46)))
myconfig_column_mux_arra.add(gdstk.Reference(myconfig_contact_27, (37.18,0.435)))
myconfig_column_mux_arra.add(gdstk.Reference(myconfig_contact_26, (40.165,1.08)))
myconfig_column_mux_arra.add(gdstk.Reference(myconfig_contact_27, (40.16,1.055)))
myconfig_column_mux_arra.add(gdstk.Reference(myconfig_contact_26, (37.845,0.46)))
myconfig_column_mux_arra.add(gdstk.Reference(myconfig_contact_27, (37.84,0.435)))
myconfig_column_mux_arra.add(gdstk.Reference(myconfig_contact_26, (41.105,1.08)))
myconfig_column_mux_arra.add(gdstk.Reference(myconfig_contact_27, (41.1,1.055)))
myconfig_column_mux_arra.add(gdstk.Reference(myconfig_contact_26, (43.425,0.46)))
myconfig_column_mux_arra.add(gdstk.Reference(myconfig_contact_27, (43.42,0.435)))
myconfig_column_mux_arra.add(gdstk.Reference(myconfig_contact_26, (46.405,1.08)))
myconfig_column_mux_arra.add(gdstk.Reference(myconfig_contact_27, (46.4,1.055)))
myconfig_column_mux_arra.add(gdstk.Reference(myconfig_contact_26, (44.085,0.46)))
myconfig_column_mux_arra.add(gdstk.Reference(myconfig_contact_27, (44.08,0.435)))
myconfig_column_mux_arra.add(gdstk.Reference(myconfig_contact_26, (47.345,1.08)))
myconfig_column_mux_arra.add(gdstk.Reference(myconfig_contact_27, (47.34,1.055)))
myconfig_column_mux_arra.add(gdstk.Reference(myconfig_contact_26, (49.665,0.46)))
myconfig_column_mux_arra.add(gdstk.Reference(myconfig_contact_27, (49.66,0.435)))
myconfig_column_mux_arra.add(gdstk.Reference(myconfig_contact_26, (52.645,1.08)))
myconfig_column_mux_arra.add(gdstk.Reference(myconfig_contact_27, (52.64,1.055)))
myconfig_column_mux_arra.add(gdstk.Reference(myconfig_contact_26, (50.325,0.46)))
myconfig_column_mux_arra.add(gdstk.Reference(myconfig_contact_27, (50.32,0.435)))
myconfig_column_mux_arra.add(gdstk.Reference(myconfig_contact_26, (53.585,1.08)))
myconfig_column_mux_arra.add(gdstk.Reference(myconfig_contact_27, (53.58,1.055)))
myconfig_column_mux_arra.add(gdstk.Reference(myconfig_contact_26, (55.905,0.46)))
myconfig_column_mux_arra.add(gdstk.Reference(myconfig_contact_27, (55.9,0.435)))
myconfig_column_mux_arra.add(gdstk.Reference(myconfig_contact_26, (58.885,1.08)))
myconfig_column_mux_arra.add(gdstk.Reference(myconfig_contact_27, (58.88,1.055)))
myconfig_column_mux_arra.add(gdstk.Reference(myconfig_contact_26, (56.565,0.46)))
myconfig_column_mux_arra.add(gdstk.Reference(myconfig_contact_27, (56.56,0.435)))
myconfig_column_mux_arra.add(gdstk.Reference(myconfig_contact_18, (12.555,6.255)))
myconfig_column_mux_arra.add(gdstk.Reference(myconfig_contact_21, (12.55,6.23)))
myconfig_column_mux_arra.add(gdstk.Reference(myconfig_contact_18, (12.555,6.255)))
myconfig_column_mux_arra.add(gdstk.Reference(myconfig_contact_21, (12.55,6.23)))
myconfig_column_mux_arra.add(gdstk.Reference(myconfig_contact_18, (18.795,6.255)))
myconfig_column_mux_arra.add(gdstk.Reference(myconfig_contact_21, (18.79,6.23)))
myconfig_column_mux_arra.add(gdstk.Reference(myconfig_contact_18, (18.795,6.255)))
myconfig_column_mux_arra.add(gdstk.Reference(myconfig_contact_21, (18.79,6.23)))
myconfig_column_mux_arra.add(gdstk.Reference(myconfig_contact_18, (25.035,6.255)))
myconfig_column_mux_arra.add(gdstk.Reference(myconfig_contact_21, (25.03,6.23)))
myconfig_column_mux_arra.add(gdstk.Reference(myconfig_contact_18, (25.035,6.255)))
myconfig_column_mux_arra.add(gdstk.Reference(myconfig_contact_21, (25.03,6.23)))
myconfig_column_mux_arra.add(gdstk.Reference(myconfig_contact_18, (31.275,6.255)))
myconfig_column_mux_arra.add(gdstk.Reference(myconfig_contact_21, (31.27,6.23)))
myconfig_column_mux_arra.add(gdstk.Reference(myconfig_contact_18, (31.275,6.255)))
myconfig_column_mux_arra.add(gdstk.Reference(myconfig_contact_21, (31.27,6.23)))
myconfig_column_mux_arra.add(gdstk.Reference(myconfig_contact_18, (37.515,6.255)))
myconfig_column_mux_arra.add(gdstk.Reference(myconfig_contact_21, (37.51,6.23)))
myconfig_column_mux_arra.add(gdstk.Reference(myconfig_contact_18, (37.515,6.255)))
myconfig_column_mux_arra.add(gdstk.Reference(myconfig_contact_21, (37.51,6.23)))
myconfig_column_mux_arra.add(gdstk.Reference(myconfig_contact_18, (43.755,6.255)))
myconfig_column_mux_arra.add(gdstk.Reference(myconfig_contact_21, (43.75,6.23)))
myconfig_column_mux_arra.add(gdstk.Reference(myconfig_contact_18, (43.755,6.255)))
myconfig_column_mux_arra.add(gdstk.Reference(myconfig_contact_21, (43.75,6.23)))
myconfig_column_mux_arra.add(gdstk.Reference(myconfig_contact_18, (49.995,6.255)))
myconfig_column_mux_arra.add(gdstk.Reference(myconfig_contact_21, (49.99,6.23)))
myconfig_column_mux_arra.add(gdstk.Reference(myconfig_contact_18, (49.995,6.255)))
myconfig_column_mux_arra.add(gdstk.Reference(myconfig_contact_21, (49.99,6.23)))
myconfig_column_mux_arra.add(gdstk.Reference(myconfig_contact_18, (56.235,6.255)))
myconfig_column_mux_arra.add(gdstk.Reference(myconfig_contact_21, (56.23,6.23)))
myconfig_column_mux_arra.add(gdstk.Reference(myconfig_contact_18, (56.235,6.255)))
myconfig_column_mux_arra.add(gdstk.Reference(myconfig_contact_21, (56.23,6.23)))
myconfig_column_mux_arra.add(gdstk.Label('sel_0', (29.758,2.01), layer=70, texttype=5))
myconfig_column_mux_arra.add(gdstk.Label('sel_1', (29.758,2.63), layer=70, texttype=5))
myconfig_column_mux_arra.add(gdstk.Label('bl_out_0', (10.065,2.17), layer=68, texttype=5))
myconfig_column_mux_arra.add(gdstk.Label('br_out_0', (12.385,1.86), layer=68, texttype=5))
myconfig_column_mux_arra.add(gdstk.Label('bl_out_1', (16.305,2.17), layer=68, texttype=5))
myconfig_column_mux_arra.add(gdstk.Label('br_out_1', (18.625,1.86), layer=68, texttype=5))
myconfig_column_mux_arra.add(gdstk.Label('bl_out_2', (22.545,2.17), layer=68, texttype=5))
myconfig_column_mux_arra.add(gdstk.Label('br_out_2', (24.865,1.86), layer=68, texttype=5))
myconfig_column_mux_arra.add(gdstk.Label('bl_out_3', (28.785,2.17), layer=68, texttype=5))
myconfig_column_mux_arra.add(gdstk.Label('br_out_3', (31.105,1.86), layer=68, texttype=5))
myconfig_column_mux_arra.add(gdstk.Label('bl_out_4', (35.025,2.17), layer=68, texttype=5))
myconfig_column_mux_arra.add(gdstk.Label('br_out_4', (37.345,1.86), layer=68, texttype=5))
myconfig_column_mux_arra.add(gdstk.Label('bl_out_5', (41.265,2.17), layer=68, texttype=5))
myconfig_column_mux_arra.add(gdstk.Label('br_out_5', (43.585,1.86), layer=68, texttype=5))
myconfig_column_mux_arra.add(gdstk.Label('bl_out_6', (47.505,2.17), layer=68, texttype=5))
myconfig_column_mux_arra.add(gdstk.Label('br_out_6', (49.825,1.86), layer=68, texttype=5))
myconfig_column_mux_arra.add(gdstk.Label('bl_out_7', (53.745,2.17), layer=68, texttype=5))
myconfig_column_mux_arra.add(gdstk.Label('br_out_7', (56.065,1.86), layer=68, texttype=5))
myconfig_column_mux_arra.add(gdstk.Label('gnd', (28.398,6.415), layer=70, texttype=5))
myconfig_column_mux_arra.add(gdstk.Label('bl_0', (10.065,9.54), layer=68, texttype=5))
myconfig_column_mux_arra.add(gdstk.Label('br_0', (12.385,9.54), layer=68, texttype=5))
myconfig_column_mux_arra.add(gdstk.Label('bl_1', (15.365,9.54), layer=68, texttype=5))
myconfig_column_mux_arra.add(gdstk.Label('br_1', (13.045,9.54), layer=68, texttype=5))
myconfig_column_mux_arra.add(gdstk.Label('bl_2', (16.305,9.54), layer=68, texttype=5))
myconfig_column_mux_arra.add(gdstk.Label('br_2', (18.625,9.54), layer=68, texttype=5))
myconfig_column_mux_arra.add(gdstk.Label('bl_3', (21.605,9.54), layer=68, texttype=5))
myconfig_column_mux_arra.add(gdstk.Label('br_3', (19.285,9.54), layer=68, texttype=5))
myconfig_column_mux_arra.add(gdstk.Label('bl_4', (22.545,9.54), layer=68, texttype=5))
myconfig_column_mux_arra.add(gdstk.Label('br_4', (24.865,9.54), layer=68, texttype=5))
myconfig_column_mux_arra.add(gdstk.Label('bl_5', (27.845,9.54), layer=68, texttype=5))
myconfig_column_mux_arra.add(gdstk.Label('br_5', (25.525,9.54), layer=68, texttype=5))
myconfig_column_mux_arra.add(gdstk.Label('bl_6', (28.785,9.54), layer=68, texttype=5))
myconfig_column_mux_arra.add(gdstk.Label('br_6', (31.105,9.54), layer=68, texttype=5))
myconfig_column_mux_arra.add(gdstk.Label('bl_7', (34.085,9.54), layer=68, texttype=5))
myconfig_column_mux_arra.add(gdstk.Label('br_7', (31.765,9.54), layer=68, texttype=5))
myconfig_column_mux_arra.add(gdstk.Label('bl_8', (35.025,9.54), layer=68, texttype=5))
myconfig_column_mux_arra.add(gdstk.Label('br_8', (37.345,9.54), layer=68, texttype=5))
myconfig_column_mux_arra.add(gdstk.Label('bl_9', (40.325,9.54), layer=68, texttype=5))
myconfig_column_mux_arra.add(gdstk.Label('br_9', (38.005,9.54), layer=68, texttype=5))
myconfig_column_mux_arra.add(gdstk.Label('bl_10', (41.265,9.54), layer=68, texttype=5))
myconfig_column_mux_arra.add(gdstk.Label('br_10', (43.585,9.54), layer=68, texttype=5))
myconfig_column_mux_arra.add(gdstk.Label('bl_11', (46.565,9.54), layer=68, texttype=5))
myconfig_column_mux_arra.add(gdstk.Label('br_11', (44.245,9.54), layer=68, texttype=5))
myconfig_column_mux_arra.add(gdstk.Label('bl_12', (47.505,9.54), layer=68, texttype=5))
myconfig_column_mux_arra.add(gdstk.Label('br_12', (49.825,9.54), layer=68, texttype=5))
myconfig_column_mux_arra.add(gdstk.Label('bl_13', (52.805,9.54), layer=68, texttype=5))
myconfig_column_mux_arra.add(gdstk.Label('br_13', (50.485,9.54), layer=68, texttype=5))
myconfig_column_mux_arra.add(gdstk.Label('bl_14', (53.745,9.54), layer=68, texttype=5))
myconfig_column_mux_arra.add(gdstk.Label('br_14', (56.065,9.54), layer=68, texttype=5))
myconfig_column_mux_arra.add(gdstk.Label('bl_15', (59.045,9.54), layer=68, texttype=5))
myconfig_column_mux_arra.add(gdstk.Label('br_15', (56.725,9.54), layer=68, texttype=5))

lib.write_gds('myconfig_column_mux_array.gds')
